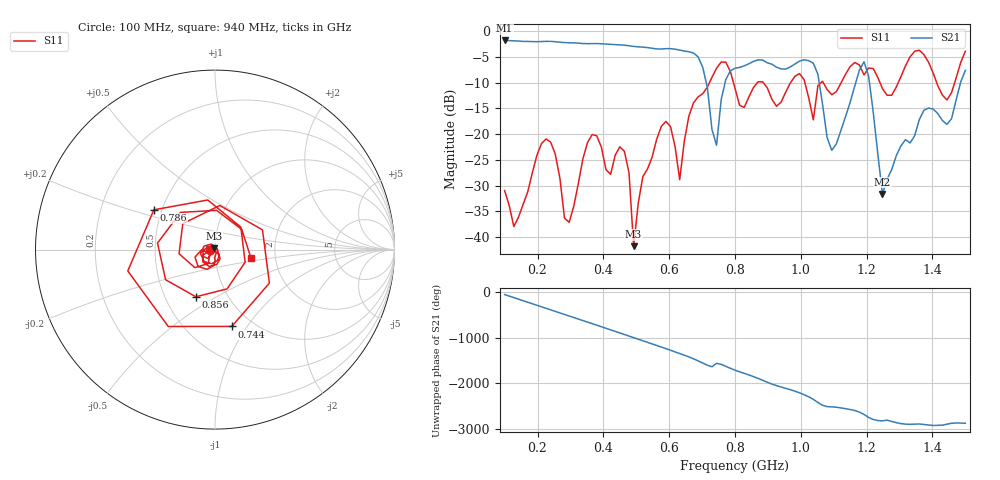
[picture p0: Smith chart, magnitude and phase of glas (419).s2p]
! NanoVNA-App
! Date: 2025-09-25 15:58:44
! Start: 100MHz Stop: 1,5GHz Points: 101
! S-Parameter data: F S11 S21 S12 S22
# Hz S RI R 50
!  Frequency  S11_Real  S11_Imag  S21_Real  S21_Imag  S12_Real  S12_Imag  S22_Real  S22_Imag
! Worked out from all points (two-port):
!   101 points, 100 MHz to 1.5 GHz, reference 50 ohm
!   highest |S21| = -1.80 dB at 100 MHz (marker M1); lowest = -31.6 dB at 1.248 GHz (marker M2)
!   |S21| within 3 dB of the highest: start of sweep to 684.4 MHz
!   lowest |S11| = -41.7 dB at 492 MHz (marker M3), VSWR 1.02, Z = 49.5 + j0.612 ohm
!   |S11| at or under -10 dB: start of sweep to 722.4 MHz; 795.4 MHz to 867.9 MHz (72.5 MHz wide, 8.72 % of centre); 886 MHz to 968.8 MHz (82.76 MHz wide, 8.92 % of centre) (the widest 3 of 7)
!   S12 and S22 are empty: the file has one direction only
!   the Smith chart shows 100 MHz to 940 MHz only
!   S11 on the Smith chart (normalised r, x): 100 MHz: 0.95, -0.01; 744 MHz: 0.80, -0.85; 786 MHz: 0.45, +0.24; 856 MHz: 0.71, -0.41; 940 MHz: 1.49, -0.14
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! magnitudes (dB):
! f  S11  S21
! 100 MHz  -30.9  -1.8
! 128 MHz  -37.9  -1.9
! 226 MHz  -20.9  -2.0
! 296 MHz  -37.1  -2.2
! 338 MHz  -24.7  -2.4
! 464 MHz  -23.3  -2.7
! 492 MHz  -41.7  -3.0
! 576 MHz  -18.5  -3.5
! 632 MHz  -28.8  -3.7
! 702 MHz  -12.1  -7.0
! 744 MHz  -7.2  -22.1
! 786 MHz  -7.8  -7.7
! 800 MHz  -11.1  -7.2
! 856 MHz  -10.9  -5.9
! 940 MHz  -13.8  -7.3
! 996 MHz  -8.2  -5.8
! 1.038 GHz  -17.2  -6.2
! 1.094 GHz  -12.3  -23.1
! 1.192 GHz  -8.5  -5.9
! 1.248 GHz  -11.1  -31.6
! 1.276 GHz  -12.4  -26.9
! 1.5 GHz  -3.9  -7.6
